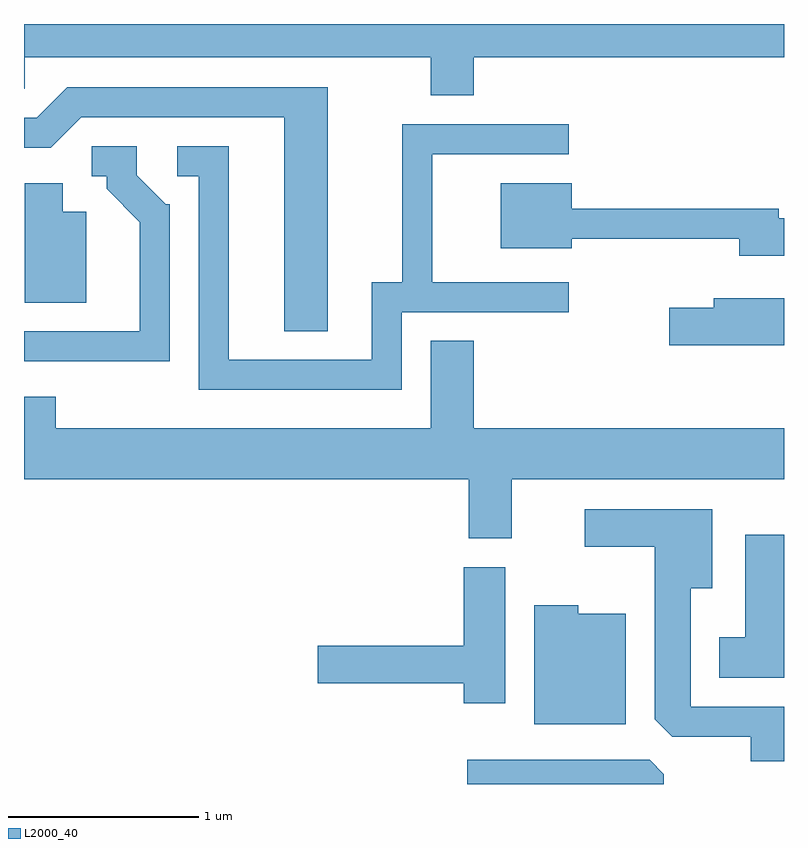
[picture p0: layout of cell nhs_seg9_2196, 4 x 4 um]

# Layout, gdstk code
import gdstk
lib = gdstk.Library(unit=1e-6, precision=1e-09)
def P(c, l, *ps):  # polygons
    for p in ps: c.add(gdstk.Polygon(p, *l))
L2000_40 = (2000, 40)

nhs_seg9_2196 = lib.new_cell('nhs_seg9_2196')
P(nhs_seg9_2196, L2000_40, [(251.979,1996.256),(253.611,1996.256),(253.611,1996.432),(249.611,1996.432),(249.611,1996.091),(249.614,1996.091),(249.614,1996.256),(251.751,1996.256),(251.751,1996.056),(251.979,1996.056)],
  [(251.209,1996.099),(249.839,1996.099),(249.679,1995.939),(249.611,1995.939),(249.611,1995.781),(249.752,1995.781),(249.912,1995.941),(250.981,1995.941),(250.981,1994.816),(251.209,1994.816)],
  [(251.599,1994.916),(252.478,1994.916),(252.478,1995.074),(251.759,1995.074),(251.759,1995.746),(252.478,1995.746),(252.478,1995.904),(251.601,1995.904),(251.601,1995.074),(251.441,1995.074),(251.441,1994.664),(250.689,1994.664),(250.689,1995.789),(250.418,1995.789),(250.418,1995.631),(250.531,1995.631),(250.531,1994.506),(251.599,1994.506)],
  [(250.379,1995.484),(250.357,1995.484),(250.204,1995.637),(250.204,1995.789),(249.968,1995.789),(249.968,1995.631),(250.046,1995.631),(250.046,1995.564),(250.221,1995.389),(250.221,1994.814),(249.611,1994.814),(249.611,1994.656),(250.379,1994.656)],
  [(249.939,1995.444),(249.814,1995.444),(249.814,1995.594),(249.616,1995.594),(249.616,1994.966),(249.939,1994.966)],
  [(253.611,1995.409),(253.584,1995.409),(253.584,1995.459),(252.494,1995.459),(252.494,1995.594),(252.121,1995.594),(252.121,1995.251),(252.494,1995.251),(252.494,1995.301),(253.376,1995.301),(253.376,1995.211),(253.611,1995.211)],
  [(253.611,1994.989),(253.241,1994.989),(253.241,1994.939),(253.006,1994.939),(253.006,1994.741),(253.611,1994.741)],
  [(252.179,1994.036),(253.611,1994.036),(253.611,1994.304),(251.979,1994.304),(251.979,1994.764),(251.751,1994.764),(251.751,1994.304),(249.779,1994.304),(249.779,1994.469),(249.611,1994.469),(249.611,1994.036),(251.951,1994.036),(251.951,1993.726),(252.179,1993.726)],
  [(253.611,1992.839),(253.119,1992.839),(253.119,1993.461),(253.234,1993.461),(253.234,1993.879),(252.561,1993.879),(252.561,1993.681),(252.931,1993.681),(252.931,1992.772),(253.022,1992.681),(253.436,1992.681),(253.436,1992.551),(253.611,1992.551)],
  [(253.611,1993.744),(253.406,1993.744),(253.406,1993.204),(253.271,1993.204),(253.271,1992.991),(253.611,1992.991)],
  [(252.144,1993.574),(251.926,1993.574),(251.926,1993.159),(251.156,1993.159),(251.156,1992.961),(251.926,1992.961),(251.926,1992.856),(252.144,1992.856)],
  [(252.779,1993.329),(252.529,1993.329),(252.529,1993.374),(252.296,1993.374),(252.296,1992.746),(252.779,1992.746)],
  [(252.979,1992.484),(252.904,1992.559),(251.943,1992.559),(251.943,1992.432),(252.979,1992.432)])

lib.write_gds('nhs_seg9_2196.gds')
